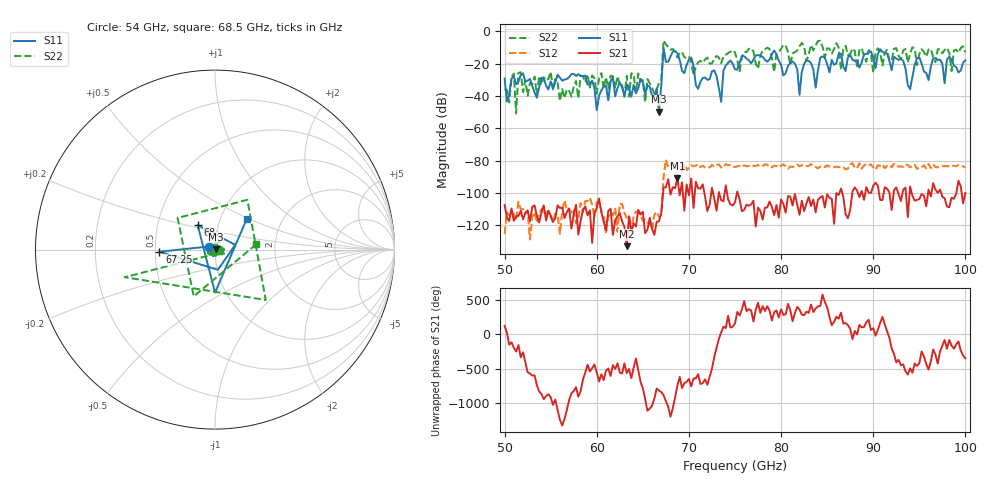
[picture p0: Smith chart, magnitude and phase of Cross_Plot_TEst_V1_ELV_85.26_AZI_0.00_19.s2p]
! 11/25/2026 1:25:04 PM
! C:\ANRITSUVNA\TEMP\TEMP.S2P
! CHANNEL.1
! TR.MEASUREMENT
! RAW.DATA
# HZ S RI R 50.0
! FREQ.HZ  S11RE  S11IM  S21RE  S21IM  S12RE  S12IM  S22RE  S22IM
!; PortSelection: Port_12
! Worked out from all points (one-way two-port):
!   201 points, 50 GHz to 100 GHz, reference 50 ohm
!   highest |S21| = -91.06 dB at 68.75 GHz (marker M1); lowest = -133.0 dB at 63.25 GHz (marker M2)
!   lowest |S11| = -49.7 dB at 66.75 GHz (marker M3), VSWR 1.01, Z = 50.3 + j0.0722 ohm
!   |S11| at or under -10 dB: start of sweep to end of sweep
!   |S22| runs from -50.8 to -5.6 dB; largest |S21 - S12| = 0.00011
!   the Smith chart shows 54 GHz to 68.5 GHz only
!   S11 on the Smith chart (normalised r, x): 54 GHz: 0.93, +0.03; 67.25 GHz: 0.53, -0.01; 68 GHz: 0.80, +0.22; 68.5 GHz: 1.33, +0.49
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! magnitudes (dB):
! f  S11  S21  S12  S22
! 50 GHz  -29.1  -107.5  -125.4  -35.8
! 51 GHz  -27.9  -117.3  -113.2  -26.1
! 51.25 GHz  -32.6  -114.6  -116.6  -50.8
! 51.5 GHz  -31.2  -114.3  -105.5  -25.7
! 54 GHz  -28.7  -112.0  -110.1  -32.9
! 58.5 GHz  -27.7  -110.7  -111.7  -27.7
! 60 GHz  -48.8  -109.5  -105.8  -38.6
! 63.25 GHz  -33.2  -133.0  -115.4  -27.5
! 66.75 GHz  -49.7  -117.6  -114.8  -31.9
! 67.25 GHz  -10.2  -96.6  -90.1  -5.6
! 68 GHz  -15.5  -101.1  -82.6  -11.3
! 68.5 GHz  -12.1  -97.1  -84.9  -12.6
! 68.75 GHz  -13.5  -91.1  -81.9  -16.1
! 73.5 GHz  -43.5  -104.5  -84.2  -19.7
! 73.75 GHz  -24.4  -105.2  -84.2  -15.4
! 75 GHz  -23.5  -105.7  -84.0  -13.0
! 82 GHz  -39.2  -113.5  -83.6  -9.1
! 83.5 GHz  -23.5  -104.2  -83.4  -11.8
! 91.75 GHz  -18.1  -99.6  -82.7  -17.6
! 94 GHz  -35.8  -96.0  -84.2  -13.7
! 94.75 GHz  -16.5  -104.4  -85.1  -20.9
! 100 GHz  -17.9  -100.1  -84.4  -12.9
